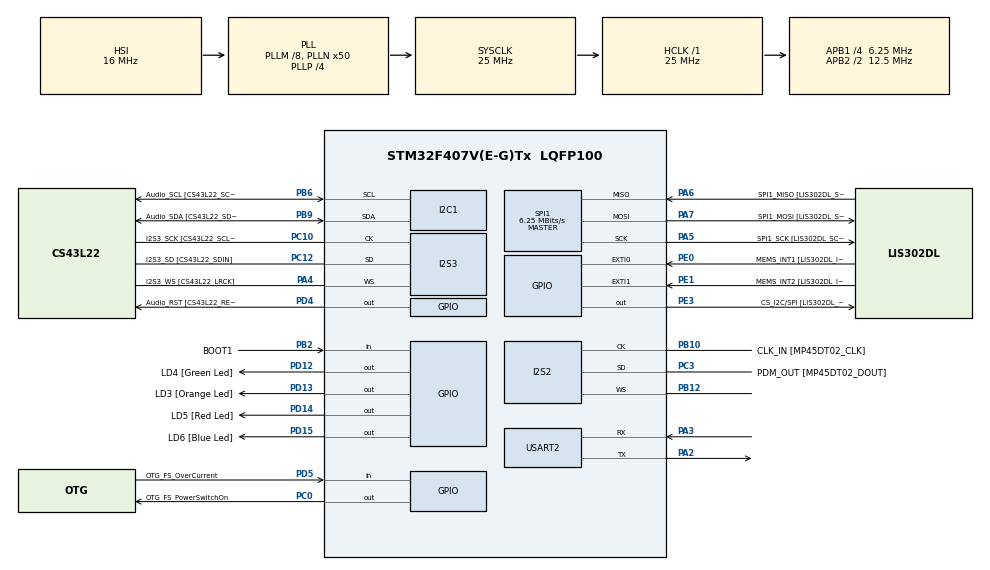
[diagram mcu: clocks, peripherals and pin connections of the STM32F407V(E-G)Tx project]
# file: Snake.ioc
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I2S2.AudioFreq=I2S_AUDIOFREQ_44K
I2S2.ErrorAudioFreq=0.26 %
I2S2.Mode=I2S_MODE_MASTER_RX
I2S2.RealAudioFreq=44.117 KHz
I2S3.AudioFreq=I2S_AUDIOFREQ_44K
I2S3.ErrorAudioFreq=0.26 %
I2S3.RealAudioFreq=44.117 KHz
Mcu.Family=STM32F4
Mcu.Name=STM32F407V(E-G)Tx
Mcu.Package=LQFP100
NVIC.PriorityGroup=NVIC_PRIORITYGROUP_0
PA10.GPIO_Label=OTG_FS_ID
PA10.GPIO_Mode=GPIO_MODE_AF_PP
PA10.GPIO_PuPd=GPIO_NOPULL
PA10.GPIO_Speed=GPIO_SPEED_FREQ_LOW
PA10.Signal=USB_OTG_FS_ID
PA11.GPIO_Label=OTG_FS_DM
PA11.GPIO_Mode=GPIO_MODE_AF_PP
PA11.GPIO_PuPd=GPIO_NOPULL
PA11.GPIO_Speed=GPIO_SPEED_FREQ_LOW
PA11.Signal=USB_OTG_FS_DM
PA12.GPIO_Label=OTG_FS_DP
PA12.GPIO_Mode=GPIO_MODE_AF_PP
PA12.GPIO_PuPd=GPIO_NOPULL
PA12.GPIO_Speed=GPIO_SPEED_FREQ_LOW
PA12.Signal=USB_OTG_FS_DP
PA13.GPIO_Label=SWDIO
PA13.Signal=SYS_JTMS-SWDIO
PA14.GPIO_Label=SWCLK
PA14.Signal=SYS_JTCK-SWCLK
PA2.Mode=Asynchronous
PA2.Signal=USART2_TX
PA3.Mode=Asynchronous
PA3.Signal=USART2_RX
PA4.GPIO_Label=I2S3_WS [CS43L22_LRCK]
PA4.GPIO_Mode=GPIO_MODE_AF_PP
PA4.GPIO_PuPd=GPIO_NOPULL
PA4.GPIO_Speed=GPIO_SPEED_FREQ_LOW
PA4.Mode=Half_Duplex_Master
PA4.Signal=I2S3_WS
PA5.GPIO_Label=SPI1_SCK [LIS302DL_SCL/SPC]
PA5.GPIO_Mode=GPIO_MODE_AF_PP
PA5.GPIO_PuPd=GPIO_NOPULL
PA5.GPIO_Speed=GPIO_SPEED_FREQ_LOW
PA5.Mode=Full_Duplex_Master
PA5.Signal=SPI1_SCK
PA6.GPIO_Label=SPI1_MISO [LIS302DL_SDO]
PA6.GPIO_Mode=GPIO_MODE_AF_PP
PA6.GPIO_PuPd=GPIO_NOPULL
PA6.GPIO_Speed=GPIO_SPEED_FREQ_LOW
PA6.Mode=Full_Duplex_Master
PA6.Signal=SPI1_MISO
PA7.GPIO_Label=SPI1_MOSI [LIS302DL_SDA/SDI/SDO]
PA7.GPIO_Mode=GPIO_MODE_AF_PP
PA7.GPIO_PuPd=GPIO_NOPULL
PA7.GPIO_Speed=GPIO_SPEED_FREQ_LOW
PA7.Mode=Full_Duplex_Master
PA7.Signal=SPI1_MOSI
PA9.GPIO_Label=VBUS_FS
PA9.GPIO_Mode=GPIO_MODE_INPUT
PA9.GPIO_PuPd=GPIO_NOPULL
PA9.Signal=USB_OTG_FS_VBUS
PB10.GPIO_Label=CLK_IN [MP45DT02_CLK]
PB10.GPIO_Mode=GPIO_MODE_AF_PP
PB10.GPIO_PuPd=GPIO_NOPULL
PB10.GPIO_Speed=GPIO_SPEED_FREQ_LOW
PB10.Mode=Half_Duplex_Master
PB10.Signal=I2S2_CK
PB12.Mode=Half_Duplex_Master
PB12.Signal=I2S2_WS
PB2.GPIO_Label=BOOT1
PB2.GPIO_Mode=GPIO_MODE_INPUT
PB2.GPIO_PuPd=GPIO_NOPULL
PB2.Signal=GPIO_Input
PB3.GPIO_Label=SWO
PB3.Signal=SYS_JTDO-SWO
PB6.GPIO_Label=Audio_SCL [CS43L22_SCL]
PB6.GPIO_Mode=GPIO_MODE_AF_OD
PB6.GPIO_PuPd=GPIO_NOPULL
PB6.GPIO_Speed=GPIO_SPEED_FREQ_LOW
PB6.Mode=I2C
PB6.Signal=I2C1_SCL
PB9.GPIO_Label=Audio_SDA [CS43L22_SDA]
PB9.GPIO_Mode=GPIO_MODE_AF_OD
PB9.GPIO_PuPd=GPIO_NOPULL
PB9.GPIO_Speed=GPIO_SPEED_FREQ_LOW
PB9.Mode=I2C
PB9.Signal=I2C1_SDA
PC0.GPIO_Label=OTG_FS_PowerSwitchOn
PC0.GPIO_PuPd=GPIO_NOPULL
PC0.GPIO_Speed=GPIO_SPEED_FREQ_LOW
PC0.PinState=GPIO_PIN_SET
PC0.Signal=GPIO_Output
PC10.GPIO_Label=I2S3_SCK [CS43L22_SCLK]
PC10.GPIO_Mode=GPIO_MODE_AF_PP
PC10.GPIO_PuPd=GPIO_NOPULL
PC10.GPIO_Speed=GPIO_SPEED_FREQ_LOW
PC10.Mode=Half_Duplex_Master
PC10.Signal=I2S3_CK
PC12.GPIO_Label=I2S3_SD [CS43L22_SDIN]
PC12.GPIO_Mode=GPIO_MODE_AF_PP
PC12.GPIO_PuPd=GPIO_NOPULL
PC12.GPIO_Speed=GPIO_SPEED_FREQ_LOW
PC12.Mode=Half_Duplex_Master
PC12.Signal=I2S3_SD
PC14-OSC32_IN.GPIO_Label=PC14-OSC32_IN
PC14-OSC32_IN.Signal=RCC_OSC32_IN
PC15-OSC32_OUT.GPIO_Label=PC15-OSC32_OUT
PC15-OSC32_OUT.Signal=RCC_OSC32_OUT
PC3.GPIO_Label=PDM_OUT [MP45DT02_DOUT]
PC3.GPIO_Mode=GPIO_MODE_AF_PP
PC3.GPIO_PuPd=GPIO_NOPULL
PC3.GPIO_Speed=GPIO_SPEED_FREQ_LOW
PC3.Mode=Half_Duplex_Master
PC3.Signal=I2S2_SD
PC7.GPIO_Label=I2S3_MCK [CS43L22_MCLK]
PC7.GPIO_Mode=GPIO_MODE_AF_PP
PC7.GPIO_PuPd=GPIO_NOPULL
PC7.GPIO_Speed=GPIO_SPEED_FREQ_LOW
PC7.Signal=I2S3_MCK
PD12.GPIO_Label=LD4 [Green Led]
PD12.GPIO_PuPd=GPIO_NOPULL
PD12.GPIO_Speed=GPIO_SPEED_FREQ_LOW
PD12.Signal=GPIO_Output
PD13.GPIO_Label=LD3 [Orange Led]
PD13.GPIO_PuPd=GPIO_NOPULL
PD13.GPIO_Speed=GPIO_SPEED_FREQ_LOW
PD13.Signal=GPIO_Output
PD14.GPIO_Label=LD5 [Red Led]
PD14.GPIO_PuPd=GPIO_NOPULL
PD14.GPIO_Speed=GPIO_SPEED_FREQ_LOW
PD14.Signal=GPIO_Output
PD15.GPIO_Label=LD6 [Blue Led]
PD15.GPIO_PuPd=GPIO_NOPULL
PD15.GPIO_Speed=GPIO_SPEED_FREQ_LOW
PD15.Signal=GPIO_Output
PD4.GPIO_Label=Audio_RST [CS43L22_RESET]
PD4.GPIO_PuPd=GPIO_NOPULL
PD4.GPIO_Speed=GPIO_SPEED_FREQ_LOW
PD4.Signal=GPIO_Output
PD5.GPIO_Label=OTG_FS_OverCurrent
PD5.GPIO_Mode=GPIO_MODE_INPUT
PD5.GPIO_PuPd=GPIO_NOPULL
PD5.Signal=GPIO_Input
PE0.GPIO_Label=MEMS_INT1 [LIS302DL_INT1]
PE0.Signal=GPXTI0
PE1.GPIO_Label=MEMS_INT2 [LIS302DL_INT2]
PE1.GPIO_ModeDefaultEXTI=GPIO_MODE_EVT_RISING
PE1.GPIO_PuPd=GPIO_NOPULL
PE1.Signal=GPXTI1
PE3.GPIO_Label=CS_I2C/SPI [LIS302DL_CS_I2C/SPI]
PE3.GPIO_PuPd=GPIO_NOPULL
PE3.GPIO_Speed=GPIO_SPEED_FREQ_LOW
PE3.Signal=GPIO_Output
PH0-OSC_IN.GPIO_Label=PH0-OSC_IN
PH0-OSC_IN.Signal=RCC_OSC_IN
PH1-OSC_OUT.GPIO_Label=PH1-OSC_OUT
PH1-OSC_OUT.Signal=RCC_OSC_OUT
ProjectManager.HeapSize=0x200
ProjectManager.StackSize=0x400
ProjectManager.TargetToolchain=MDK-ARM V5
RCC.48MHZClocksFreq_Value=14285714.285714285
RCC.AHBFreq_Value=25000000
RCC.APB1CLKDivider=RCC_HCLK_DIV4
RCC.APB1Freq_Value=6250000
RCC.APB1TimFreq_Value=12500000
RCC.APB2CLKDivider=RCC_HCLK_DIV2
RCC.APB2Freq_Value=12500000
RCC.APB2TimFreq_Value=25000000
RCC.CortexFreq_Value=25000000
RCC.HCLKFreq_Value=25000000
RCC.HSE_VALUE=8000000
RCC.HSI_VALUE=16000000
RCC.LSE_VALUE=32768
RCC.PLLM=8
RCC.PLLN=50
RCC.PLLP=RCC_PLLP_DIV4
RCC.PLLQ=7
RCC.SYSCLKFreq_VALUE=25000000
RCC.SYSCLKSource=RCC_SYSCLKSOURCE_PLLCLK
RCC.VCOOutputFreq_Value=100000000
SPI1.CalculateBaudRate=6.25 MBits/s
SPI1.Mode=SPI_MODE_MASTER
VP_TIM1_VS_ClockSourceINT.Mode=Internal
board=STM32F407G-DISC1

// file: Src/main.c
/**
  ******************************************************************************
  * File Name          : main.c
  * Description        : Main program body
  ******************************************************************************
  *
  * COPYRIGHT(c) 2016 STMicroelectronics
  *
  * Redistribution and use in source and binary forms, with or without modification,
  * are permitted provided that the following conditions are met:
  *   1. Redistributions of source code must retain the above copyright notice,
  *      this list of conditions and the following disclaimer.
  *   2. Redistributions in binary form must reproduce the above copyright notice,
  *      this list of conditions and the following disclaimer in the documentation
  *      and/or other materials provided with the distribution.
  *   3. Neither the name of STMicroelectronics nor the names of its contributors
  *      may be used to endorse or promote products derived from this software
  *      without specific prior written permission.
  *
  * THIS SOFTWARE IS PROVIDED BY THE COPYRIGHT HOLDERS AND CONTRIBUTORS "AS IS"
  * AND ANY EXPRESS OR IMPLIED WARRANTIES, INCLUDING, BUT NOT LIMITED TO, THE
  * IMPLIED WARRANTIES OF MERCHANTABILITY AND FITNESS FOR A PARTICULAR PURPOSE ARE
  * DISCLAIMED. IN NO EVENT SHALL THE COPYRIGHT HOLDER OR CONTRIBUTORS BE LIABLE
  * FOR ANY DIRECT, INDIRECT, INCIDENTAL, SPECIAL, EXEMPLARY, OR CONSEQUENTIAL
  * DAMAGES (INCLUDING, BUT NOT LIMITED TO, PROCUREMENT OF SUBSTITUTE GOODS OR
  * SERVICES; LOSS OF USE, DATA, OR PROFITS; OR BUSINESS INTERRUPTION) HOWEVER
  * CAUSED AND ON ANY THEORY OF LIABILITY, WHETHER IN CONTRACT, STRICT LIABILITY,
  * OR TORT (INCLUDING NEGLIGENCE OR OTHERWISE) ARISING IN ANY WAY OUT OF THE USE
  * OF THIS SOFTWARE, EVEN IF ADVISED OF THE POSSIBILITY OF SUCH DAMAGE.
  *
  ******************************************************************************
  */
#include "stm32f4xx_hal.h"
#include<string.h>
#include<stdlib.h>
#include<stdio.h>

I2C_HandleTypeDef hi2c1;

I2S_HandleTypeDef hi2s2;
I2S_HandleTypeDef hi2s3;

SPI_HandleTypeDef hspi1;

TIM_HandleTypeDef htim1;

UART_HandleTypeDef huart2;

/* USER CODE BEGIN PV */
/* Private variables ---------------------------------------------------------*/

/* USER CODE END PV */

void SystemClock_Config(void);
void Error_Handler(void);
static void MX_GPIO_Init(void);
static void MX_I2C1_Init(void);
static void MX_I2S2_Init(void);
static void MX_I2S3_Init(void);
static void MX_SPI1_Init(void);
static void MX_TIM1_Init(void);
static void MX_USART2_UART_Init(void);

/* USER CODE BEGIN PFP */
/* Private function prototypes -----------------------------------------------*/

/* USER CODE END PFP */

/* USER CODE BEGIN 0 */

#define PDM_BUFFER_SIZE 20
#define LEAKY_KEEP_RATE 0.95
#define UART_DEBUG_TICK_RATE 100
#define PDM_BLOCK_SIZE_BITS 16
#define LEFT 0
#define RIGHT 1
#define UP 2
#define DOWN 3

//variables for sound
uint8_t initV[2];
uint16_t Istr[1] = {0};

void initSpeaker(){

	HAL_UART_Transmit(&huart2, "Loading...\r\n", 12, 500);
	HAL_GPIO_WritePin(GPIOD, GPIO_PIN_4, 0);
	HAL_Delay(2000);
	HAL_GPIO_WritePin(GPIOD, GPIO_PIN_4, 1);

	HAL_I2S_Transmit (&hi2s3, Istr , 0x10, 10);

	HAL_GPIO_WritePin(GPIOD, GPIO_PIN_4, 0);

  HAL_GPIO_WritePin(GPIOD, GPIO_PIN_4, 1);

	initV[0] = 0x00;
  initV[1] = 0x99;
  HAL_I2C_Master_Transmit(&hi2c1, 0x94, initV, 2, 50);

  initV[0] = 0x47;
  initV[1] = 0x80;
  HAL_I2C_Master_Transmit(&hi2c1, 0x94, initV, 2, 50);

  initV[0] = 0x32;
  initV[1] = 0x80;
  HAL_I2C_Master_Transmit(&hi2c1, 0x94, initV, 2, 50);

  initV[0] = 0x32;
  initV[1] = 0x00;
  HAL_I2C_Master_Transmit(&hi2c1, 0x94, initV, 2, 50);

  initV[0] = 0x00;
  initV[1] = 0x00;
  HAL_I2C_Master_Transmit(&hi2c1, 0x94, initV, 2, 50);

  initV[0] = 0x1E;
  initV[1] = 0xC0;
  HAL_I2C_Master_Transmit(&hi2c1, 0x94, initV, 2, 50);

	initV[0] = 0x02; //You are powered up, get in there
  initV[1] = 0x9E;
  HAL_I2C_Master_Transmit(&hi2c1, 0x94, initV, 2, 50);
}

void playStart(){
		int i, j;

	for(i=0; i<2; i++)
	{
		initV[0] = 0x1E;
		initV[1] = 0x20;
		HAL_I2C_Master_Transmit(&hi2c1, 0x94, initV, 2, 50);

		initV[0] = 0x1C;
		if(i==0)
			initV[1] = 0x1A;
		else
			initV[1] = 0x8A;
		HAL_I2C_Master_Transmit(&hi2c1, 0x94, initV, 2, 50);

		initV[0] = 0x1E;
		initV[1] = 0xE0;
		HAL_I2C_Master_Transmit(&hi2c1, 0x94, initV, 2, 50);

		for (j=0 ; j<1000; j++)
		{
			HAL_I2S_Transmit (&hi2s3, Istr , 0x10, 50);
		}

		HAL_Delay(50);
	}

}

void playEat(){

		int i;
		initV[0] = 0x1E;
		initV[1] = 0x20;
		HAL_I2C_Master_Transmit(&hi2c1, 0x94, initV, 2, 50);

		initV[0] = 0x1C;
		initV[1] = 0xAA;
		HAL_I2C_Master_Transmit(&hi2c1, 0x94, initV, 2, 50);

		initV[0] = 0x1E;
		initV[1] = 0xE0;
		HAL_I2C_Master_Transmit(&hi2c1, 0x94, initV, 2, 50);

		for (i=0 ; i<500; i++)
		{
			HAL_I2S_Transmit (&hi2s3, Istr , 0x10, 50);
		}
}

void playDie(){
		int i, j;
	for(i=0; i<3; i++)
	{
		initV[0] = 0x1E;
		initV[1] = 0x20;
		HAL_I2C_Master_Transmit(&hi2c1, 0x94, initV, 2, 50);

		initV[0] = 0x1C;
		if(i==0)
			initV[1] = 0x6A;
		else if(i==1)
			initV[1] = 0x4A;
		else
			initV[1] = 0x0A;
		HAL_I2C_Master_Transmit(&hi2c1, 0x94, initV, 2, 50);

		initV[0] = 0x1E;
		initV[1] = 0xE0;
		HAL_I2C_Master_Transmit(&hi2c1, 0x94, initV, 2, 50);

		for (j=0 ; j<500; j++)
		{
			HAL_I2S_Transmit (&hi2s3, Istr , 0x10, 50);
		}

		HAL_Delay(25);
	}
}

	//variables for detecting sound
	uint8_t i;
  uint16_t pdm_buffer[PDM_BUFFER_SIZE];
  uint16_t pdm_value=0;
  uint8_t  pcm_value=0;
  uint16_t pcm_count = 0;

  char uart_temp_display_buffer[100];
  float leaky_pcm_buffer = 0.0;
  float leaky_amp_buffer = 0.0;
  float max_amp = 0;
	int get=0;

float float_abs(float in){
	return in < 0 ? -in : in;
}

void detectSound(){
	get=0;
	while(!get)
	{
		HAL_I2S_Receive(&hi2s2, pdm_buffer, PDM_BUFFER_SIZE, 1000);
  /* USER CODE END WHILE */

  /* USER CODE BEGIN 3 */
    for(i=0; i<PDM_BUFFER_SIZE; i++){
      pcm_value = -PDM_BLOCK_SIZE_BITS/2;
      pdm_value = pdm_buffer[i];
      while ( pdm_value != 0 )
      {
        pcm_value ++;
        pdm_value ^= pdm_value & -pdm_value;
      }
      leaky_pcm_buffer += pcm_value;
      leaky_pcm_buffer *= LEAKY_KEEP_RATE;
      leaky_amp_buffer += float_abs(leaky_pcm_buffer);
      leaky_amp_buffer *= LEAKY_KEEP_RATE;
    }
    pcm_count++;
    if(max_amp < leaky_amp_buffer) max_amp = leaky_amp_buffer;
    if(pcm_count == 1000){
    	if((int)max_amp > 31000)
			{
				get = 1;
				break;
			}
			pcm_count = 0;
    	max_amp = 0;
    }
	}
}

//update board vars
	int board[9][32];
	int headX = 3, headY = 4;
	int tailX = 1, tailY = 4;
	int snakes = 1;
	int direction = RIGHT;
	int eaten = 0;
	int score = 0;
	int size=0;

void updateNextTail(){
	if(eaten)
	{
		playEat();
		return;
	}

	int temX = tailX, temY = tailY;
	if(board[tailY][tailX+1] == board[tailY][tailX]+1)
		tailX++;
	else if(board[tailY][tailX-1] == board[tailY][tailX]+1)
		tailX--;
	else if(board[tailY+1][tailX] == board[tailY][tailX]+1)
		tailY++;
	else
		tailY--;
	board[temY][temX] = 0;
}

void updateNextHead(){
	if(direction == RIGHT)
		headX++;
	else if(direction == LEFT)
		headX--;
	else if(direction == DOWN)
		headY++;
	else
		headY--;

	if(board[headY][headX] == -1)
	{
		eaten = 1;
	}
}

//random number
int rX, rY;

void genFood(){
	while(1)
	{
		rX = rand() % (30 + 1 - 1) + 1;
		rY = rand() % (7 + 1 - 1) + 1;
		if(board[rY][rX] == 0)
		{
			board[rY][rX] = -1;
			break;
		}
	}
}

int updateBoard(){
	int i=0, j=0;
	//update board array and snake behaviors
	updateNextTail();
	if(eaten)
	{
		genFood();
		eaten = 0;
		score++;
	}
	updateNextHead();
	if(board[headY][headX] > 0)
		return 1;
	board[headY][headX] = snakes++;

	//clear screen
	HAL_UART_Transmit(&huart2, "\r\n\r\n\r\n\r\n\r\n\r\n\r\n\r\n\r\n\r\n\r\n\r\n\r\n\r\n\r\n\r\n\r\n\r\n\r\n\r\n\r\n\r\n\r\n\r\n\r\n\r\n\r\n\r\n\r\n\r\n", 60, 500);

	//draw board
	for(i=0; i<9 ; i++)
	{
		for(j=0; j<32; j++)
		{
			if(i==0 || i==8)
				HAL_UART_Transmit(&huart2, "-", 1, 500);
			else if(j==0 || j==31)
				HAL_UART_Transmit(&huart2, "|", 1, 500);
			else if(board[i][j] > 0)
				HAL_UART_Transmit(&huart2, "o", 1, 500);
			else if(board[i][j] == -1)
				HAL_UART_Transmit(&huart2, "*", 1, 500);
			else
				HAL_UART_Transmit(&huart2, " ", 1, 500);

		}
			if(i < 8) HAL_UART_Transmit(&huart2, "\r\n", 2, 500);
	}

	sprintf(uart_temp_display_buffer, "\r\nSCORE: %d", score);
  HAL_UART_Transmit(&huart2, (uint8_t*)uart_temp_display_buffer, strlen(uart_temp_display_buffer), 500);

	if(headX==0 || headX==31 || headY==0 || headY==8)
		return 1;
	return 0;
}

//accel vars
uint8_t address;
int8_t x,y, uartSize;

void accelInit(){
			HAL_GPIO_WritePin(GPIOE,GPIO_PIN_3,GPIO_PIN_RESET);
  	  address = 0x20;
  	  HAL_SPI_Transmit(&hspi1,&address,1,50);

  	  uint8_t data = 0x47;
  	  HAL_SPI_Transmit(&hspi1,&data,1,50);
  	  HAL_GPIO_WritePin(GPIOE,GPIO_PIN_3,GPIO_PIN_SET);
}

void accelDet(){
			HAL_GPIO_WritePin(GPIOE,GPIO_PIN_3,GPIO_PIN_RESET);

	  		  address = 0x29+ 0x80;
	  		  HAL_SPI_Transmit(&hspi1,&address,1,50);
	  		  HAL_SPI_Receive(&hspi1,&x,1,50);

	  		  address = 0x2B+ 0x80;
	  		  HAL_SPI_Transmit(&hspi1,&address,1,50);
	  		  HAL_SPI_Receive(&hspi1,&y,1,50);

	  		  HAL_GPIO_WritePin(GPIOE,GPIO_PIN_3,GPIO_PIN_SET);

		if(y>=25) //right
	  {
			HAL_GPIO_WritePin(GPIOD, GPIO_PIN_13, GPIO_PIN_SET);
			if(direction != LEFT)
				direction = RIGHT;
		}
		else
	  {
			HAL_GPIO_WritePin(GPIOD, GPIO_PIN_13, GPIO_PIN_RESET);
	  }
		if(y<-25) //left
	  {
			HAL_GPIO_WritePin(GPIOD, GPIO_PIN_15, GPIO_PIN_SET);
			if(direction != RIGHT)
				direction = LEFT;
		}
		else
	  {
			HAL_GPIO_WritePin(GPIOD, GPIO_PIN_15, GPIO_PIN_RESET);
	  }
		if(x<-25) //up
		{
			HAL_GPIO_WritePin(GPIOD, GPIO_PIN_12, GPIO_PIN_SET);
			if(direction != DOWN)
				direction = UP;
		}
		else
	  {
			HAL_GPIO_WritePin(GPIOD, GPIO_PIN_12, GPIO_PIN_RESET);
	  }
		if(x>=25) //down
		{
			HAL_GPIO_WritePin(GPIOD, GPIO_PIN_14, GPIO_PIN_SET);
			if(direction != UP)
				direction = DOWN;
		}
		else
	  {
			HAL_GPIO_WritePin(GPIOD, GPIO_PIN_14, GPIO_PIN_RESET);
	  }

}

//game start vars
	int die=0;

void gameStart(){
	//initialise board and snake
	int i, j;
	for(i=0; i<9; i++)
	{
		for(j=0; j<32; j++)
		{
			if(i==4 && (j==1 || j==2 || j==3))
				board[i][j] = snakes++;
			else if(i==4 && j== 20)//first food!
				board[i][j] = -1;
			else
				board[i][j] = 0;
		}
	}
	tailY=4; tailX=1; headY=4; headX=3;

	//play sound
	playStart();

	//gameloop
	while(1)
	{
		die = updateBoard();
		if(die)
		{
			playDie();
			break;
		}

		//determine next direction
		accelDet();
		HAL_Delay(500);
	}
}

void gameOver(){
	HAL_UART_Transmit(&huart2, "\r\n\r\n", 4, 500);
	HAL_UART_Transmit(&huart2, "GAME OVER", 9, 500);
}
/* USER CODE END 0 */

int main(void)
{

  /* MCU Configuration----------------------------------------------------------*/

  /* Reset of all peripherals, Initializes the Flash interface and the Systick. */
  HAL_Init();

  /* Configure the system clock */
  SystemClock_Config();

  /* Initialize all configured peripherals */
  MX_GPIO_Init();
  MX_I2C1_Init();
  MX_I2S2_Init();
  MX_I2S3_Init();
  MX_SPI1_Init();
  MX_TIM1_Init();
  MX_USART2_UART_Init();

  /* USER CODE BEGIN 2 */

	//initialise speaker
	initSpeaker();

	//initialise accel
	accelInit();

	//wait for high volume sound to start game
	sprintf(uart_temp_display_buffer, "  #############  ####      ####      ######      ###     ###  ###########  #########\r\n");
	HAL_UART_Transmit(&huart2, (uint8_t*)uart_temp_display_buffer, strlen(uart_temp_display_buffer), 100);
	sprintf(uart_temp_display_buffer, " ############    ####      ####    ###    ###    ###    ###   ###          #########\r\n");
	HAL_UART_Transmit(&huart2, (uint8_t*)uart_temp_display_buffer, strlen(uart_temp_display_buffer), 100);
	sprintf(uart_temp_display_buffer, "####             ####     #####   ###      ###   ###   ###    ###           #######\r\n");
	HAL_UART_Transmit(&huart2, (uint8_t*)uart_temp_display_buffer, strlen(uart_temp_display_buffer), 100);
	sprintf(uart_temp_display_buffer, "#####            ####   #######  ##############  #######      ###########    #####\r\n");
	HAL_UART_Transmit(&huart2, (uint8_t*)uart_temp_display_buffer, strlen(uart_temp_display_buffer), 100);
	sprintf(uart_temp_display_buffer, "  ###########    ########   ###  ###        ###  ###  ###     ###             ###\r\n");
	HAL_UART_Transmit(&huart2, (uint8_t*)uart_temp_display_buffer, strlen(uart_temp_display_buffer), 100);
	sprintf(uart_temp_display_buffer, "     ########    #######    ###  ###        ###  ###   ###    ###              #\r\n");
	HAL_UART_Transmit(&huart2, (uint8_t*)uart_temp_display_buffer, strlen(uart_temp_display_buffer), 100);
	sprintf(uart_temp_display_buffer, "  #########      #####      ###  ###        ###  ###    ###   ###               \r\n");
	HAL_UART_Transmit(&huart2, (uint8_t*)uart_temp_display_buffer, strlen(uart_temp_display_buffer), 100);
	sprintf(uart_temp_display_buffer, "#######          ####       ###  ###        ###  ###     ###  ###########      O\r\n");
	HAL_UART_Transmit(&huart2, (uint8_t*)uart_temp_display_buffer, strlen(uart_temp_display_buffer), 100);
	sprintf(uart_temp_display_buffer, "*SHOUT TO START*");
  HAL_UART_Transmit(&huart2, (uint8_t*)uart_temp_display_buffer, strlen(uart_temp_display_buffer), 100);
	//wait for sound to start game
	detectSound();

	//tabs
	sprintf(uart_temp_display_buffer, "...");
  HAL_UART_Transmit(&huart2, (uint8_t*)uart_temp_display_buffer, strlen(uart_temp_display_buffer), 100);

	//game loop
	gameStart();

	//show game over
	gameOver();

  /* USER CODE END 2 */

  /* Infinite loop */
  /* USER CODE BEGIN WHILE */
  while (1)
  {
  }
  /* USER CODE END 3 */

}

/** System Clock Configuration
*/
void SystemClock_Config(void)
{

  RCC_OscInitTypeDef RCC_OscInitStruct;
  RCC_ClkInitTypeDef RCC_ClkInitStruct;
  RCC_PeriphCLKInitTypeDef PeriphClkInitStruct;

    /**Configure the main internal regulator output voltage
    */
  __HAL_RCC_PWR_CLK_ENABLE();

  __HAL_PWR_VOLTAGESCALING_CONFIG(PWR_REGULATOR_VOLTAGE_SCALE1);

    /**Initializes the CPU, AHB and APB busses clocks
    */
  RCC_OscInitStruct.OscillatorType = RCC_OSCILLATORTYPE_HSI;
  RCC_OscInitStruct.HSIState = RCC_HSI_ON;
  RCC_OscInitStruct.HSICalibrationValue = 16;
  RCC_OscInitStruct.PLL.PLLState = RCC_PLL_ON;
  RCC_OscInitStruct.PLL.PLLSource = RCC_PLLSOURCE_HSI;
  RCC_OscInitStruct.PLL.PLLM = 8;
  RCC_OscInitStruct.PLL.PLLN = 50;
  RCC_OscInitStruct.PLL.PLLP = RCC_PLLP_DIV4;
  RCC_OscInitStruct.PLL.PLLQ = 7;
  if (HAL_RCC_OscConfig(&RCC_OscInitStruct) != HAL_OK)
  {
    Error_Handler();
  }

    /**Initializes the CPU, AHB and APB busses clocks
    */
  RCC_ClkInitStruct.ClockType = RCC_CLOCKTYPE_HCLK|RCC_CLOCKTYPE_SYSCLK
                              |RCC_CLOCKTYPE_PCLK1|RCC_CLOCKTYPE_PCLK2;
  RCC_ClkInitStruct.SYSCLKSource = RCC_SYSCLKSOURCE_PLLCLK;
  RCC_ClkInitStruct.AHBCLKDivider = RCC_SYSCLK_DIV1;
  RCC_ClkInitStruct.APB1CLKDivider = RCC_HCLK_DIV4;
  RCC_ClkInitStruct.APB2CLKDivider = RCC_HCLK_DIV2;

  if (HAL_RCC_ClockConfig(&RCC_ClkInitStruct, FLASH_LATENCY_5) != HAL_OK)
  {
    Error_Handler();
  }

  PeriphClkInitStruct.PeriphClockSelection = RCC_PERIPHCLK_I2S;
  PeriphClkInitStruct.PLLI2S.PLLI2SN = 88;
  PeriphClkInitStruct.PLLI2S.PLLI2SR = 4;
  if (HAL_RCCEx_PeriphCLKConfig(&PeriphClkInitStruct) != HAL_OK)
  {
    Error_Handler();
  }

    /**Configure the Systick interrupt time
    */
  HAL_SYSTICK_Config(HAL_RCC_GetHCLKFreq()/1000);

    /**Configure the Systick
    */
  HAL_SYSTICK_CLKSourceConfig(SYSTICK_CLKSOURCE_HCLK);

  /* SysTick_IRQn interrupt configuration */
  HAL_NVIC_SetPriority(SysTick_IRQn, 0, 0);
}

/* I2C1 init function */
static void MX_I2C1_Init(void)
{

  hi2c1.Instance = I2C1;
  hi2c1.Init.ClockSpeed = 50000;
  hi2c1.Init.DutyCycle = I2C_DUTYCYCLE_2;
  hi2c1.Init.OwnAddress1 = 0;
  hi2c1.Init.AddressingMode = I2C_ADDRESSINGMODE_7BIT;
  hi2c1.Init.DualAddressMode = I2C_DUALADDRESS_DISABLE;
  hi2c1.Init.OwnAddress2 = 0;
  hi2c1.Init.GeneralCallMode = I2C_GENERALCALL_DISABLE;
  hi2c1.Init.NoStretchMode = I2C_NOSTRETCH_DISABLE;
  if (HAL_I2C_Init(&hi2c1) != HAL_OK)
  {
    Error_Handler();
  }

}

/* I2S2 init function */
static void MX_I2S2_Init(void)
{

  hi2s2.Instance = SPI2;
  hi2s2.Init.Mode = I2S_MODE_MASTER_RX;
  hi2s2.Init.Standard = I2S_STANDARD_PHILIPS;
  hi2s2.Init.DataFormat = I2S_DATAFORMAT_16B;
  hi2s2.Init.MCLKOutput = I2S_MCLKOUTPUT_DISABLE;
  hi2s2.Init.AudioFreq = I2S_AUDIOFREQ_44K;
  hi2s2.Init.CPOL = I2S_CPOL_LOW;
  hi2s2.Init.ClockSource = I2S_CLOCK_PLL;
  hi2s2.Init.FullDuplexMode = I2S_FULLDUPLEXMODE_DISABLE;
  if (HAL_I2S_Init(&hi2s2) != HAL_OK)
  {
    Error_Handler();
  }

}

/* I2S3 init function */
static void MX_I2S3_Init(void)
{

  hi2s3.Instance = SPI3;
  hi2s3.Init.Mode = I2S_MODE_MASTER_TX;
  hi2s3.Init.Standard = I2S_STANDARD_MSB;
  hi2s3.Init.DataFormat = I2S_DATAFORMAT_16B;
  hi2s3.Init.MCLKOutput = I2S_MCLKOUTPUT_ENABLE;
  hi2s3.Init.AudioFreq = I2S_AUDIOFREQ_44K;
  hi2s3.Init.CPOL = I2S_CPOL_LOW;
  hi2s3.Init.ClockSource = I2S_CLOCK_PLL;
  hi2s3.Init.FullDuplexMode = I2S_FULLDUPLEXMODE_DISABLE;
  if (HAL_I2S_Init(&hi2s3) != HAL_OK)
  {
    Error_Handler();
  }

}

/* SPI1 init function */
static void MX_SPI1_Init(void)
{

  hspi1.Instance = SPI1;
  hspi1.Init.Mode = SPI_MODE_MASTER;
  hspi1.Init.Direction = SPI_DIRECTION_2LINES;
  hspi1.Init.DataSize = SPI_DATASIZE_8BIT;
  hspi1.Init.CLKPolarity = SPI_POLARITY_LOW;
  hspi1.Init.CLKPhase = SPI_PHASE_1EDGE;
  hspi1.Init.NSS = SPI_NSS_SOFT;
  hspi1.Init.BaudRatePrescaler = SPI_BAUDRATEPRESCALER_2;
  hspi1.Init.FirstBit = SPI_FIRSTBIT_MSB;
  hspi1.Init.TIMode = SPI_TIMODE_DISABLE;
  hspi1.Init.CRCCalculation = SPI_CRCCALCULATION_DISABLE;
  hspi1.Init.CRCPolynomial = 10;
  if (HAL_SPI_Init(&hspi1) != HAL_OK)
  {
    Error_Handler();
  }

}

/* TIM1 init function */
static void MX_TIM1_Init(void)
{

  TIM_ClockConfigTypeDef sClockSourceConfig;
  TIM_MasterConfigTypeDef sMasterConfig;

  htim1.Instance = TIM1;
  htim1.Init.Prescaler = 1680;
  htim1.Init.CounterMode = TIM_COUNTERMODE_UP;
  htim1.Init.Period = 99;
  htim1.Init.ClockDivision = TIM_CLOCKDIVISION_DIV1;
  htim1.Init.RepetitionCounter = 0;
  if (HAL_TIM_Base_Init(&htim1) != HAL_OK)
  {
    Error_Handler();
  }

  sClockSourceConfig.ClockSource = TIM_CLOCKSOURCE_INTERNAL;
  if (HAL_TIM_ConfigClockSource(&htim1, &sClockSourceConfig) != HAL_OK)
  {
    Error_Handler();
  }

  sMasterConfig.MasterOutputTrigger = TIM_TRGO_RESET;
  sMasterConfig.MasterSlaveMode = TIM_MASTERSLAVEMODE_DISABLE;
  if (HAL_TIMEx_MasterConfigSynchronization(&htim1, &sMasterConfig) != HAL_OK)
  {
    Error_Handler();
  }

}

/* USART2 init function */
static void MX_USART2_UART_Init(void)
{

  huart2.Instance = USART2;
  huart2.Init.BaudRate = 115200;
  huart2.Init.WordLength = UART_WORDLENGTH_8B;
  huart2.Init.StopBits = UART_STOPBITS_1;
  huart2.Init.Parity = UART_PARITY_NONE;
  huart2.Init.Mode = UART_MODE_TX_RX;
  huart2.Init.HwFlowCtl = UART_HWCONTROL_NONE;
  huart2.Init.OverSampling = UART_OVERSAMPLING_16;
  if (HAL_UART_Init(&huart2) != HAL_OK)
  {
    Error_Handler();
  }

}

/** Configure pins as
        * Analog
        * Input
        * Output
        * EVENT_OUT
        * EXTI
     PA9   ------> USB_OTG_FS_VBUS
     PA10   ------> USB_OTG_FS_ID
     PA11   ------> USB_OTG_FS_DM
     PA12   ------> USB_OTG_FS_DP
*/
static void MX_GPIO_Init(void)
{

  GPIO_InitTypeDef GPIO_InitStruct;

  /* GPIO Ports Clock Enable */
  __HAL_RCC_GPIOE_CLK_ENABLE();
  __HAL_RCC_GPIOC_CLK_ENABLE();
  __HAL_RCC_GPIOH_CLK_ENABLE();
  __HAL_RCC_GPIOA_CLK_ENABLE();
  __HAL_RCC_GPIOB_CLK_ENABLE();
  __HAL_RCC_GPIOD_CLK_ENABLE();

  /*Configure GPIO pin Output Level */
  HAL_GPIO_WritePin(CS_I2C_SPI_GPIO_Port, CS_I2C_SPI_Pin, GPIO_PIN_RESET);

  /*Configure GPIO pin Output Level */
  HAL_GPIO_WritePin(OTG_FS_PowerSwitchOn_GPIO_Port, OTG_FS_PowerSwitchOn_Pin, GPIO_PIN_SET);

  /*Configure GPIO pin Output Level */
  HAL_GPIO_WritePin(GPIOD, LD4_Pin|LD3_Pin|LD5_Pin|LD6_Pin
                          |Audio_RST_Pin, GPIO_PIN_RESET);

  /*Configure GPIO pin : CS_I2C_SPI_Pin */
  GPIO_InitStruct.Pin = CS_I2C_SPI_Pin;
  GPIO_InitStruct.Mode = GPIO_MODE_OUTPUT_PP;
  GPIO_InitStruct.Pull = GPIO_NOPULL;
  GPIO_InitStruct.Speed = GPIO_SPEED_FREQ_LOW;
  HAL_GPIO_Init(CS_I2C_SPI_GPIO_Port, &GPIO_InitStruct);

  /*Configure GPIO pin : OTG_FS_PowerSwitchOn_Pin */
  GPIO_InitStruct.Pin = OTG_FS_PowerSwitchOn_Pin;
  GPIO_InitStruct.Mode = GPIO_MODE_OUTPUT_PP;
  GPIO_InitStruct.Pull = GPIO_NOPULL;
  GPIO_InitStruct.Speed = GPIO_SPEED_FREQ_LOW;
  HAL_GPIO_Init(OTG_FS_PowerSwitchOn_GPIO_Port, &GPIO_InitStruct);

  /*Configure GPIO pin : BOOT1_Pin */
  GPIO_InitStruct.Pin = BOOT1_Pin;
  GPIO_InitStruct.Mode = GPIO_MODE_INPUT;
  GPIO_InitStruct.Pull = GPIO_NOPULL;
  HAL_GPIO_Init(BOOT1_GPIO_Port, &GPIO_InitStruct);

  /*Configure GPIO pins : LD4_Pin LD3_Pin LD5_Pin LD6_Pin
                           Audio_RST_Pin */
  GPIO_InitStruct.Pin = LD4_Pin|LD3_Pin|LD5_Pin|LD6_Pin
                          |Audio_RST_Pin;
  GPIO_InitStruct.Mode = GPIO_MODE_OUTPUT_PP;
  GPIO_InitStruct.Pull = GPIO_NOPULL;
  GPIO_InitStruct.Speed = GPIO_SPEED_FREQ_LOW;
  HAL_GPIO_Init(GPIOD, &GPIO_InitStruct);

  /*Configure GPIO pin : VBUS_FS_Pin */
  GPIO_InitStruct.Pin = VBUS_FS_Pin;
  GPIO_InitStruct.Mode = GPIO_MODE_INPUT;
  GPIO_InitStruct.Pull = GPIO_NOPULL;
  HAL_GPIO_Init(VBUS_FS_GPIO_Port, &GPIO_InitStruct);

  /*Configure GPIO pins : OTG_FS_ID_Pin OTG_FS_DM_Pin OTG_FS_DP_Pin */
  GPIO_InitStruct.Pin = OTG_FS_ID_Pin|OTG_FS_DM_Pin|OTG_FS_DP_Pin;
  GPIO_InitStruct.Mode = GPIO_MODE_AF_PP;
  GPIO_InitStruct.Pull = GPIO_NOPULL;
  GPIO_InitStruct.Speed = GPIO_SPEED_FREQ_LOW;
  GPIO_InitStruct.Alternate = GPIO_AF10_OTG_FS;
  HAL_GPIO_Init(GPIOA, &GPIO_InitStruct);

  /*Configure GPIO pin : OTG_FS_OverCurrent_Pin */
  GPIO_InitStruct.Pin = OTG_FS_OverCurrent_Pin;
  GPIO_InitStruct.Mode = GPIO_MODE_INPUT;
  GPIO_InitStruct.Pull = GPIO_NOPULL;
  HAL_GPIO_Init(OTG_FS_OverCurrent_GPIO_Port, &GPIO_InitStruct);

  /*Configure GPIO pin : MEMS_INT1_Pin */
  GPIO_InitStruct.Pin = MEMS_INT1_Pin;
  GPIO_InitStruct.Mode = GPIO_MODE_IT_RISING;
  GPIO_InitStruct.Pull = GPIO_NOPULL;
  HAL_GPIO_Init(MEMS_INT1_GPIO_Port, &GPIO_InitStruct);

  /*Configure GPIO pin : MEMS_INT2_Pin */
  GPIO_InitStruct.Pin = MEMS_INT2_Pin;
  GPIO_InitStruct.Mode = GPIO_MODE_EVT_RISING;
  GPIO_InitStruct.Pull = GPIO_NOPULL;
  HAL_GPIO_Init(MEMS_INT2_GPIO_Port, &GPIO_InitStruct);

}

void Error_Handler(void)
{
  while(1)
  {
  }
}

/************************ (C) COPYRIGHT STMicroelectronics *****END OF FILE****/
